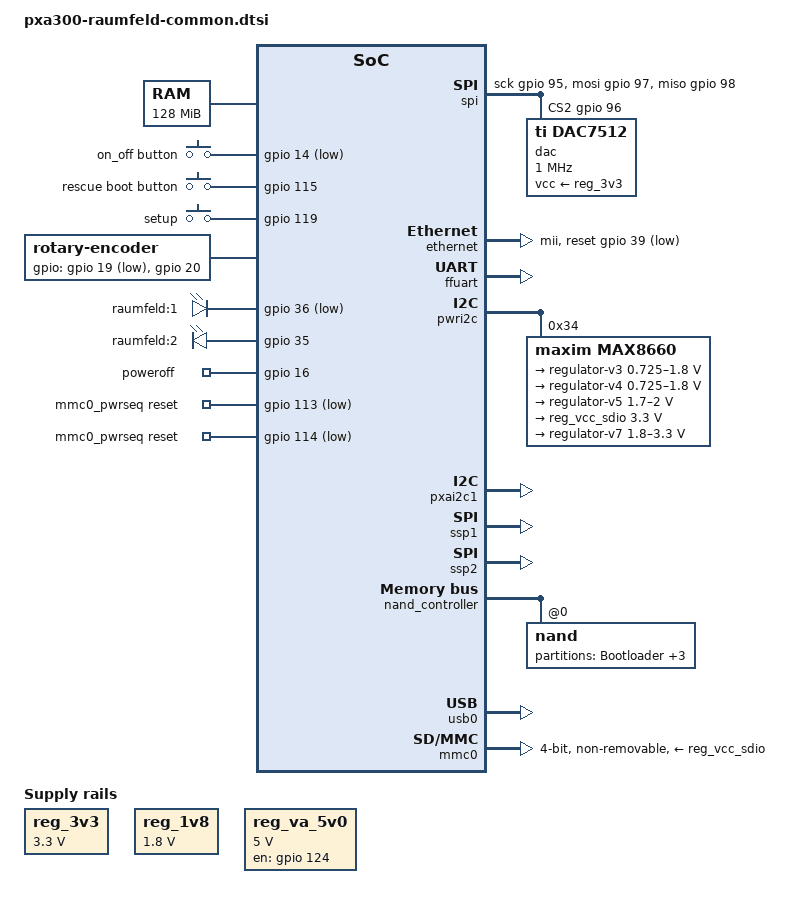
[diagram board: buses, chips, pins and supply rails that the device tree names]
// SPDX-License-Identifier: GPL-2.0

#include "pxa3xx.dtsi"
#include <dt-bindings/gpio/gpio.h>
#include <dt-bindings/input/input.h>
#include <dt-bindings/interrupt-controller/irq.h>

/ {
	/* Will be overridden by bootloader */
	hw-revision = <0>;

	chosen {
		bootargs = "root=ubi0:RootFS rootfstype=ubifs rw ubi.mtd=3";
		stdout-path = &ffuart;
	};

	memory {
		device_type = "memory";
		reg = <0xa0000000 0x8000000>;	/* 128 MB */
	};

	reg_3v3: regulator-3v3 {
		compatible = "regulator-fixed";
		regulator-name = "3v3-fixed-supply";
		regulator-min-microvolt = <3300000>;
		regulator-max-microvolt = <3300000>;
		regulator-always-on;
	};

	reg_1v8: regulator-1v8 {
		compatible = "regulator-fixed";
		regulator-name = "1v8-fixed-supply";
		regulator-min-microvolt = <1800000>;
		regulator-max-microvolt = <1800000>;
		regulator-always-on;
	};

	reg_va_5v0: regulator-va-5v0 {
		compatible = "regulator-fixed";
		regulator-name = "va-5v0-fixed-supply";
		regulator-min-microvolt = <5000000>;
		regulator-max-microvolt = <5000000>;
		gpio = <&gpio 124 GPIO_ACTIVE_HIGH>;
		enable-active-high;
	};

	ssp_dai0: ssp-dai0 {
		compatible = "mrvl,pxa-ssp-dai";
		pinctrl-names = "default";
		pinctrl-0 = <&ssp0_dai_pins>;
		port = <&ssp1>;
		#sound-dai-cells = <0>;
		dmas = <&pdma 13 3
			&pdma 14 3>;
		dma-names = "rx", "tx";
		clock-names = "extclk";
	};

	ssp_dai1: ssp-dai1 {
		compatible = "mrvl,pxa-ssp-dai";
		pinctrl-names = "default";
		pinctrl-0 = <&ssp1_dai_pins>;
		port = <&ssp2>;
		#sound-dai-cells = <0>;
		dmas = <&pdma 15 3
			&pdma 16 3>;
		dma-names = "rx", "tx";
		clock-names = "extclk";
	};

	spi: spi {
		compatible = "spi-gpio";
		#address-cells = <0x1>;
		#size-cells = <0>;
		pinctrl-names = "default";
		pinctrl-0 = <&spi_pins>;
		gpio-sck = <&gpio 95 GPIO_ACTIVE_HIGH>;
		gpio-miso = <&gpio 98 GPIO_ACTIVE_HIGH>;
		gpio-mosi = <&gpio 97 GPIO_ACTIVE_HIGH>;
		cs-gpios = <
			&gpio 34 GPIO_ACTIVE_HIGH
			&gpio 125 GPIO_ACTIVE_HIGH
			&gpio 96 GPIO_ACTIVE_HIGH
		>;
		num-chipselects = <3>;

		dac: dac@2 {
			compatible = "ti,dac7512";
			reg = <2>;
			spi-max-frequency = <1000000>;
			vcc-supply = <&reg_3v3>;
		};
	};

	keys: gpio-keys {
		compatible = "gpio-keys";
		pinctrl-names = "default";
		pinctrl-0 = <&gpio_keys_pins>;

		on-off {
			label = "on_off button";
			gpios = <&gpio 14 GPIO_ACTIVE_LOW>;
			linux,code = <KEY_F6>;
		};

		rescue-boot {
			label = "rescue boot button";
			gpios = <&gpio 115 GPIO_ACTIVE_HIGH>;
			linux,code = <KEY_F4>;
		};

		setup {
			label = "setup";
			gpios = <&gpio 119 GPIO_ACTIVE_HIGH>;
			linux,code = <KEY_F3>;
		};
	};

	rotary: rotary-encoder {
		compatible = "rotary-encoder";
		gpios = <
			&gpio 19 GPIO_ACTIVE_LOW
			&gpio 20 GPIO_ACTIVE_HIGH
		>;
		linux,axis = <REL_X>;
		rotary-encoder,relative-axis;
	};

	leds: leds {
		compatible = "gpio-leds";
		pinctrl-names = "default";
		pinctrl-0 = <&led_pins_a &led_pins_b>;

		left {
			label = "raumfeld:1";
			gpios = <&gpio 36 GPIO_ACTIVE_LOW>;
		};

		right {
			label = "raumfeld:2";
			gpios = <&gpio 35 GPIO_ACTIVE_HIGH>;
		};
	};

	poweroff {
		compatible = "gpio-poweroff";
		pinctrl-names = "default";
		pinctrl-0 = <&poweroff_pins>;
		gpios = <&gpio 16 GPIO_ACTIVE_HIGH>;
	};

	mmc0_pwrseq: mmc-pwrseq {
		compatible = "mmc-pwrseq-simple";
		pinctrl-names = "default";
		pinctrl-0 = <&mmc0_pwrseq_pins>;
		reset-gpios = <
			&gpio 113 GPIO_ACTIVE_LOW	/* W2W_RESET	*/
			&gpio 114 GPIO_ACTIVE_LOW	/* W2W_PDN	*/
		>;
	};

	ethernet: ethernet@10000000 {
		compatible = "smsc,lan9115";
		pinctrl-names = "default";
		pinctrl-0 = <&smsc_pins &smsc_bus_pins>;
		reg = <0x10000000 0x100000>;
		phy-mode = "mii";
		interrupt-parent = <&gpio>;
		interrupts = <40 IRQ_TYPE_EDGE_FALLING>;
		vdd33a-supply = <&reg_3v3>;
		vddvario-supply = <&reg_1v8>;
		reset-gpios = <&gpio 39 GPIO_ACTIVE_LOW>;
		reg-io-width = <4>;
		smsc,save-mac-address;
		smsc,irq-push-pull;
	};
};

&ffuart {
	status = "okay";
};

&pwri2c {
	status = "okay";

	max8660: regulator@34 {
		compatible = "maxim,max8660";
		reg = <0x34>;

		regulators {
			regulator-v3 {
				regulator-compatible= "V3(DCDC)";
				regulator-min-microvolt = <725000>;
				regulator-max-microvolt = <1800000>;
			};

			regulator-v4 {
				regulator-compatible= "V4(DCDC)";
				regulator-min-microvolt = <725000>;
				regulator-max-microvolt = <1800000>;
			};

			regulator-v5 {
				regulator-compatible= "V5(LDO)";
				regulator-min-microvolt = <1700000>;
				regulator-max-microvolt = <2000000>;
			};

			reg_vcc_sdio: regulator-v6 {
				regulator-compatible= "V6(LDO)";
				regulator-min-microvolt = <3300000>;
				regulator-max-microvolt = <3300000>;
			};

			regulator-v7 {
				regulator-compatible= "V7(LDO)";
				regulator-min-microvolt = <1800000>;
				regulator-max-microvolt = <3300000>;
			};
		};
	};
};

&pxai2c1 {
	status = "okay";
	mrvl,i2c-fast-mode;
	pinctrl-names = "default";
	pinctrl-0 = <&pxai2c1_pins>;
};

&ssp1 {
	status = "okay";
};

&ssp2 {
	status = "okay";
};

&nand_controller {
	status = "okay";

	nand@0 {
		reg = <0>;
		nand-rb = <0>;
		nand-ecc-mode = "hw";
		marvell,nand-keep-config;

		partitions {
			compatible = "fixed-partitions";
			#address-cells = <1>;
			#size-cells = <1>;

			partition@0 {
				label = "Bootloader";
				reg = <0x0000000 0xa0000>;
				read-only;
			};

			partition@a0000 {
				label = "BootloaderEnvironment";
				reg = <0x0a0000 0x20000>;
			};

			partition@c0000 {
				label = "BootloaderSplashScreen";
				reg = <0x0c0000 0x60000>;
			};

			partition@120000 {
				label = "UBI";
				reg = <0x120000 0x7ee0000>;
			};
		};
	};
};

&usb0 {
	status = "okay";
	marvell,enable-port1;
	marvell,port-mode = <2>; /* PMM_GLOBAL_MODE */
	pinctrl-names = "default";
	pinctrl-0 = <&pxa3xx_ohci_pins>;
};

&mmc0 {
	status = "okay";
	pinctrl-names = "default";
	pinctrl-0 = <&mmc0_pins>;
	pxa-mmc,detect-delay-ms = <200>;
	vmmc-supply = <&reg_vcc_sdio>;
	mmc-pwrseq = <&mmc0_pwrseq>;
	non-removable;
	bus-width = <4>;
};

&pinctrl {
	poweroff_pins: poweroff-pins {
		pinctrl-single,pins = <MFP_PIN_PXA300(16) MFP_AF0>;
		pinctrl-single,low-power-mode = MFP_LPM(MFP_LPM_FLOAT);
	};

	led_pins_a: led-pins-a {
		pinctrl-single,pins = <MFP_PIN_PXA300(35) MFP_AF0>;
		pinctrl-single,low-power-mode = MFP_LPM(MFP_LPM_PULL_LOW);
	};

	led_pins_b: led-pins-b {
		pinctrl-single,pins = <MFP_PIN_PXA300(36) MFP_AF0>;
		pinctrl-single,low-power-mode = MFP_LPM(MFP_LPM_DRIVE_HIGH);
	};

	pxai2c1_pins: pxai2c1-pins {
		pinctrl-single,pins = <
			MFP_PIN_PXA300(21) MFP_AF1	/* I2C_SCL	*/
			MFP_PIN_PXA300(22) MFP_AF1	/* I2C_SDA	*/
		>;
		pinctrl-single,low-power-mode = MFP_LPM(MFP_LPM_PULL_HIGH);
	};

	gpio_keys_pins: gpio-keys-pins {
		pinctrl-single,pins = <
			MFP_PIN_PXA300(14) MFP_AF0	/* SCK		*/
			MFP_PIN_PXA300(115) MFP_AF0	/* MOSI		*/
			MFP_PIN_PXA300(119) MFP_AF0	/* MISO		*/
		>;
		pinctrl-single,low-power-mode = MFP_LPM(MFP_LPM_FLOAT);
	};

	spi_pins: spi-pins {
		pinctrl-single,pins = <
			MFP_PIN_PXA300(95) MFP_AF0	/* SCK		*/
			MFP_PIN_PXA300(97) MFP_AF0	/* MOSI		*/
			MFP_PIN_PXA300(98) MFP_AF0	/* MISO		*/
			MFP_PIN_PXA300(34) MFP_AF0	/* CS#0		*/
			MFP_PIN_PXA300(125) MFP_AF0	/* CS#1		*/
			MFP_PIN_PXA300(96) MFP_AF0	/* CS#2		*/
		>;
		pinctrl-single,low-power-mode = MFP_LPM(MFP_LPM_PULL_LOW);
	};

	pxa3xx_ohci_pins: pxa3xx-ohci-pins {
		pinctrl-single,pins = <
			MFP_PIN_PXA300_2(0) MFP_AF1	/* USBHPEN	*/
			MFP_PIN_PXA300_2(1) MFP_AF1	/* USBHPWR	*/
		>;
		pinctrl-single,low-power-mode = MFP_LPM(MFP_LPM_PULL_LOW);
	};

	smsc_pins: smsc-pins {
		pinctrl-single,pins = <
			MFP_PIN_PXA300(39) MFP_AF0	/* RESET	*/
			MFP_PIN_PXA300(40) MFP_AF0	/* IRQ		*/
		>;
		pinctrl-single,low-power-mode = MFP_LPM(MFP_LPM_PULL_LOW);
	};

	smsc_bus_pins: smsc-bus-pins {
		pinctrl-single,pins = <
			MFP_PIN_PXA300(1) MFP_AF1	/* nCS2		*/
		>;
		pinctrl-single,low-power-mode = MFP_LPM(MFP_LPM_FLOAT);
	};

	mmc0_pins: mmc0-pins {
		pinctrl-single,pins = <
			MFP_PIN_PXA300(3) MFP_AF4	/* MMC1_DAT0	*/
			MFP_PIN_PXA300(4) MFP_AF4	/* MMC1_DAT1	*/
			MFP_PIN_PXA300(5) MFP_AF4	/* MMC1_DAT2	*/
			MFP_PIN_PXA300(6) MFP_AF4	/* MMC1_DAT3	*/
			MFP_PIN_PXA300(7) MFP_AF4	/* MMC1_CLK	*/
			MFP_PIN_PXA300(8) MFP_AF4	/* MMC1_CMD	*/
		>;
		pinctrl-single,low-power-mode = MFP_LPM(MFP_LPM_DRIVE_HIGH);
	};

	mmc0_pwrseq_pins: mmc0-pwrseq-pins {
		pinctrl-single,pins = <
			MFP_PIN_PXA300(113) MFP_AF0	/* W2W_RESET	*/
			MFP_PIN_PXA300(114) MFP_AF0	/* W2W_PDN	*/
		>;
		pinctrl-single,low-power-mode = MFP_LPM(MFP_LPM_FLOAT);
	};

	ssp0_dai_pins: ssp0-dai-pins {
		pinctrl-single,pins = <
			MFP_PIN_PXA300(85) MFP_AF1	/* SSP1_SCLK	*/
			MFP_PIN_PXA300(86) MFP_AF1	/* SSP1_FRM	*/
			MFP_PIN_PXA300(87) MFP_AF1	/* SSP1_TXD	*/
			MFP_PIN_PXA300(88) MFP_AF1	/* SSP1_RXD	*/
			MFP_PIN_PXA300(89) MFP_AF1	/* SSP1_EXTCLK	*/
			MFP_PIN_PXA300(90) MFP_AF1	/* SSP1_SYSCLK	*/
		>;
		pinctrl-single,low-power-mode = MFP_LPM(MFP_LPM_PULL_LOW);
	};

	ssp1_dai_pins: ssp1-dai-pins {
		pinctrl-single,pins = <
			MFP_PIN_PXA300(25) MFP_AF2	/* SSP2_SCLK	*/
			MFP_PIN_PXA300(26) MFP_AF2	/* SSP2_FRM	*/
			MFP_PIN_PXA300(27) MFP_AF2	/* SSP2_TXD	*/
			MFP_PIN_PXA300(29) MFP_AF2	/* SSP2_EXTCLK	*/
		>;
		pinctrl-single,low-power-mode = MFP_LPM(MFP_LPM_PULL_LOW);
	};
};
